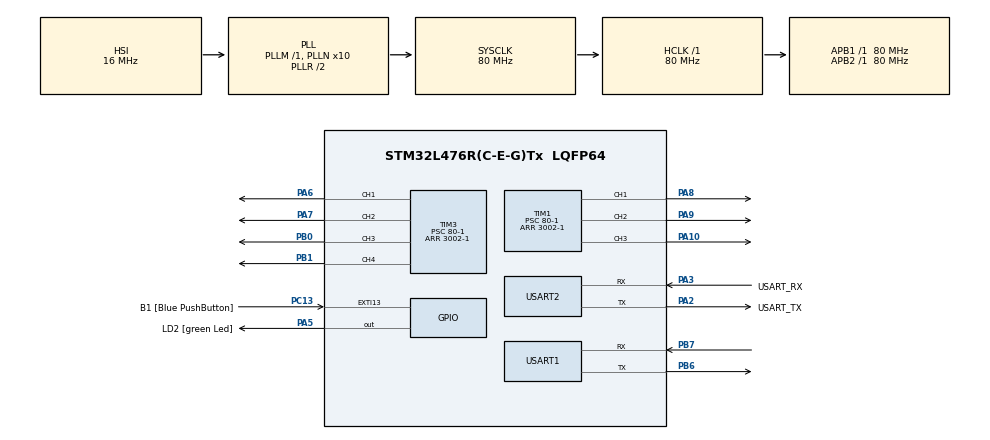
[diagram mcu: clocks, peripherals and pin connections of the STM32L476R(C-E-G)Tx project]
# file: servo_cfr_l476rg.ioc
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Mcu.Family=STM32L4
Mcu.Name=STM32L476R(C-E-G)Tx
Mcu.Package=LQFP64
NVIC.PriorityGroup=NVIC_PRIORITYGROUP_4
NVIC.USART1_IRQn=true\:0\:0\:false\:false\:true\:true\:true\:true
PA10.Signal=S_TIM1_CH3
PA13\ (JTMS-SWDIO).GPIO_Label=TMS
PA13\ (JTMS-SWDIO).Mode=Serial_Wire
PA13\ (JTMS-SWDIO).Signal=SYS_JTMS-SWDIO
PA14\ (JTCK-SWCLK).GPIO_Label=TCK
PA14\ (JTCK-SWCLK).Mode=Serial_Wire
PA14\ (JTCK-SWCLK).Signal=SYS_JTCK-SWCLK
PA2.GPIO_Label=USART_TX
PA2.GPIO_Mode=GPIO_MODE_AF_PP
PA2.GPIO_PuPd=GPIO_NOPULL
PA2.GPIO_Speed=GPIO_SPEED_FREQ_VERY_HIGH
PA2.Mode=Asynchronous
PA2.Signal=USART2_TX
PA3.GPIO_Label=USART_RX
PA3.GPIO_Mode=GPIO_MODE_AF_PP
PA3.GPIO_PuPd=GPIO_NOPULL
PA3.GPIO_Speed=GPIO_SPEED_FREQ_VERY_HIGH
PA3.Mode=Asynchronous
PA3.Signal=USART2_RX
PA5.GPIO_Label=LD2 [green Led]
PA5.GPIO_ModeDefaultOutputPP=GPIO_MODE_OUTPUT_PP
PA5.GPIO_PuPd=GPIO_NOPULL
PA5.GPIO_Speed=GPIO_SPEED_FREQ_LOW
PA5.Signal=GPIO_Output
PA6.Signal=S_TIM3_CH1
PA7.Signal=S_TIM3_CH2
PA8.Signal=S_TIM1_CH1
PA9.Signal=S_TIM1_CH2
PB0.Signal=S_TIM3_CH3
PB1.Signal=S_TIM3_CH4
PB3\ (JTDO-TRACESWO).GPIO_Label=SWO
PB3\ (JTDO-TRACESWO).Signal=SYS_JTDO-SWO
PB6.Mode=Asynchronous
PB6.Signal=USART1_TX
PB7.Mode=Asynchronous
PB7.Signal=USART1_RX
PC13.GPIO_Label=B1 [Blue PushButton]
PC13.GPIO_ModeDefaultEXTI=GPIO_MODE_IT_FALLING
PC13.GPIO_PuPd=GPIO_NOPULL
PC13.Signal=GPXTI13
PC14-OSC32_IN\ (PC14).Mode=LSE-External-Oscillator
PC14-OSC32_IN\ (PC14).Signal=RCC_OSC32_IN
PC15-OSC32_OUT\ (PC15).Mode=LSE-External-Oscillator
PC15-OSC32_OUT\ (PC15).Signal=RCC_OSC32_OUT
PH0-OSC_IN\ (PH0).Signal=RCC_OSC_IN
PH1-OSC_OUT\ (PH1).Signal=RCC_OSC_OUT
ProjectManager.HeapSize=0x200
ProjectManager.StackSize=0x400
ProjectManager.TargetToolchain=STM32CubeIDE
RCC.ADCFreq_Value=64000000
RCC.AHBFreq_Value=80000000
RCC.APB1Freq_Value=80000000
RCC.APB1TimFreq_Value=80000000
RCC.APB2Freq_Value=80000000
RCC.APB2TimFreq_Value=80000000
RCC.CortexFreq_Value=80000000
RCC.HCLKFreq_Value=80000000
RCC.HSE_VALUE=8000000
RCC.HSI_VALUE=16000000
RCC.MSI_VALUE=4000000
RCC.PLLN=10
RCC.PLLSourceVirtual=RCC_PLLSOURCE_HSI
RCC.PREFETCH_ENABLE=1
RCC.SYSCLKFreq_VALUE=80000000
RCC.SYSCLKSource=RCC_SYSCLKSOURCE_PLLCLK
RCC.USBFreq_Value=64000000
RCC.VCOOutputFreq_Value=160000000
SH.S_TIM1_CH1.0=TIM1_CH1,PWM Generation1 CH1
SH.S_TIM1_CH2.0=TIM1_CH2,PWM Generation2 CH2
SH.S_TIM1_CH3.0=TIM1_CH3,PWM Generation3 CH3
SH.S_TIM3_CH1.0=TIM3_CH1,PWM Generation1 CH1
SH.S_TIM3_CH2.0=TIM3_CH2,PWM Generation2 CH2
SH.S_TIM3_CH3.0=TIM3_CH3,PWM Generation3 CH3
SH.S_TIM3_CH4.0=TIM3_CH4,PWM Generation4 CH4
TIM1.Channel-PWM\ Generation1\ CH1=TIM_CHANNEL_1
TIM1.Channel-PWM\ Generation2\ CH2=TIM_CHANNEL_2
TIM1.Channel-PWM\ Generation3\ CH3=TIM_CHANNEL_3
TIM1.Period=3002-1
TIM1.Prescaler=80-1
TIM3.Channel-PWM\ Generation1\ CH1=TIM_CHANNEL_1
TIM3.Channel-PWM\ Generation2\ CH2=TIM_CHANNEL_2
TIM3.Channel-PWM\ Generation3\ CH3=TIM_CHANNEL_3
TIM3.Channel-PWM\ Generation4\ CH4=TIM_CHANNEL_4
TIM3.Period=3002-1
TIM3.Prescaler=80-1
USART1.VirtualMode-Asynchronous=VM_ASYNC
USART2.VirtualMode-Asynchronous=VM_ASYNC
VP_TIM1_VS_ClockSourceINT.Mode=Internal
VP_TIM3_VS_ClockSourceINT.Mode=Internal
board=NUCLEO-L476RG

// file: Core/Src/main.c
/* USER CODE BEGIN Header */
/**
 ******************************************************************************
 * @file           : main.c
 * @brief          : Main program body
 ******************************************************************************
 * @attention
 *
 * Copyright (c) 2025 STMicroelectronics.
 * All rights reserved.
 *
 * This software is licensed under terms that can be found in the LICENSE file
 * in the root directory of this software component.
 * If no LICENSE file comes with this software, it is provided AS-IS.
 *
 ******************************************************************************
 */
/* USER CODE END Header */
#include "main.h"

/* USER CODE BEGIN Includes */
#include <stdlib.h>
#include <string.h>
#include <stdio.h>
/* USER CODE END Includes */

TIM_HandleTypeDef htim1;
TIM_HandleTypeDef htim3;

UART_HandleTypeDef huart1;
UART_HandleTypeDef huart2;

/* USER CODE BEGIN PV */
char rx_data[13]; // Buffer for 13 bytes including '<' start marker

#define SERVO_MIN_M 1200 // servo milieu
#define SERVO_MAX_M 2000

#define SERVO_MIN_G 1145
#define SERVO_MAX_G 2000

#define SERVO_MIN_D 1000
#define SERVO_MAX_D 2000

// Paramètres pour l'ouverture/fermeture progressive
#define SMOOTH_STEPS 50      // Nombre d'étapes pour l'ouverture/fermeture
#define STEP_DELAY_MS 30     // Délai entre chaque étape (30ms * 50 = 1500ms )

// Variables pour mémoriser l'état actuel des servos
uint16_t current_pos_g1 = SERVO_MIN_G;  // Pince 1 gauche (PA8)
uint16_t current_pos_d1 = SERVO_MIN_D;  // Pince 1 droite (PB0)
uint16_t current_pos_g2 = SERVO_MIN_G;  // Pince 2 gauche (PA6)
uint16_t current_pos_d2 = SERVO_MIN_D;  // Pince 2 droite (PA10)
/* USER CODE END PV */

void SystemClock_Config(void);
static void MX_GPIO_Init(void);
static void MX_USART2_UART_Init(void);
static void MX_TIM1_Init(void);
static void MX_TIM3_Init(void);
static void MX_USART1_UART_Init(void);
/* USER CODE BEGIN PFP */
void moveServoSmoothly(uint16_t *current_position, uint16_t target_position, void (*setPosition)(uint16_t));
void setServoPosition_PA8(uint16_t position);   // Pince 1 gauche
void setServoPosition_PB0(uint16_t position);   // Pince 1 droite
void setServoPosition_PA6(uint16_t position);   // Pince 2 gauche
void setServoPosition_PA10(uint16_t position);  // Pince 2 droite
/* USER CODE END PFP */

/* USER CODE BEGIN 0 */
// Fonction pour définir la position du servo PA8 (Pince 1 gauche)
void setServoPosition_PA8(uint16_t position) {
    TIM1->CCR1 = position;
}

// Fonction pour définir la position du servo PB0 (Pince 1 droite)
void setServoPosition_PB0(uint16_t position) {
    TIM3->CCR3 = position;
}

// Fonction pour définir la position du servo PA6 (Pince 2 gauche)
void setServoPosition_PA6(uint16_t position) {
    TIM3->CCR1 = position;
}

// Fonction pour définir la position du servo PA10 (Pince 2 droite)
void setServoPosition_PA10(uint16_t position) {
    TIM1->CCR3 = position;
}

// Fonction pour déplacer un servo progressivement
void moveServoSmoothly(uint16_t *current_position, uint16_t target_position, void (*setPosition)(uint16_t)) {
    if (*current_position == target_position) {
        return; // Pas besoin de bouger si déjà à la position cible
    }

    int16_t step = (target_position - *current_position) / SMOOTH_STEPS;
    uint16_t position = *current_position;

    for (int i = 0; i < SMOOTH_STEPS; i++) {
        position += step;
        // S'assurer que la dernière étape atteint exactement la position cible
        if (i == SMOOTH_STEPS - 1) {
            position = target_position;
        }

        setPosition(position);
        HAL_Delay(STEP_DELAY_MS);
    }

    *current_position = target_position;
}
/* USER CODE END 0 */

int main(void)
{

	/* MCU Configuration--------------------------------------------------------*/

	/* Reset of all peripherals, Initializes the Flash interface and the Systick. */
	HAL_Init();

	/* Configure the system clock */
	SystemClock_Config();

	/* Initialize all configured peripherals */
	MX_GPIO_Init();
	MX_USART2_UART_Init();
	MX_TIM1_Init();
	MX_TIM3_Init();
	MX_USART1_UART_Init();
	/* USER CODE BEGIN 2 */
	HAL_TIM_PWM_Start(&htim3, TIM_CHANNEL_2);  // PA7 (première pince, milieu)
	HAL_TIM_PWM_Start(&htim3, TIM_CHANNEL_3);  // PB0 (première pince, droit)
	HAL_TIM_PWM_Start(&htim1, TIM_CHANNEL_1);  // PA8 (première pince, gauche)
	HAL_TIM_PWM_Start(&htim1, TIM_CHANNEL_2);  // PA9 (deuxième pince, milieu)
	HAL_TIM_PWM_Start(&htim1, TIM_CHANNEL_3);  // PA10 (deuxième pince, droit)
	HAL_TIM_PWM_Start(&htim3, TIM_CHANNEL_1);  // PA6 (deuxième pince, gauche)
	HAL_TIM_PWM_Start(&htim3, TIM_CHANNEL_4);  // PB1 (banderolle)

	HAL_UART_Receive_IT(&huart1, (uint8_t *)rx_data, 13);
	/* USER CODE END 2 */

	/* Infinite loop */
	/* USER CODE BEGIN WHILE */
	while (1)
	{
		// Find the start marker '<' in rx_data
		int offset = -1;
		for (int j = 0; j < sizeof(rx_data); j++) {
			if (rx_data[j] == '<') {
				offset = j;
				break;
			}
		}

		// Process data if '>' is found
		if (offset >= 0) {
			// Debug output: Reconstruct the message in circular order
			char message[15]; // 13 caractères de rx_data + 2 pour "\r\n"
			for (int i = 0; i < 13; i++) {
				message[i] = rx_data[(offset + i) % 13];
			}
			message[13] = '\r'; // Ajouter retour chariot
			message[14] = '\n'; // Ajouter nouvelle ligne
			HAL_UART_Transmit(&huart2, (uint8_t *)message, sizeof(message), HAL_MAX_DELAY);

			// Première pince
			if (rx_data[(offset + 1) % 13] == '0') { // PA7 (TIM3_CH2) milieu
				TIM3->CCR2 = SERVO_MAX_M;
			} else {
				TIM3->CCR2 = SERVO_MIN_M;
			}

			// Déplacement progressif de la pince 1 droite
			if (rx_data[(offset + 2) % 13] == '0') { // PB0 (TIM3_CH3) droit
				moveServoSmoothly(&current_pos_d1, SERVO_MIN_D, setServoPosition_PB0);
			} else {
				moveServoSmoothly(&current_pos_d1, SERVO_MAX_D, setServoPosition_PB0);
			}

			// Déplacement progressif de la pince 1 gauche
			if (rx_data[(offset + 3) % 13] == '0') { // PA8 (TIM1_CH1) gauche
				moveServoSmoothly(&current_pos_g1, SERVO_MAX_G, setServoPosition_PA8);
			} else {
				moveServoSmoothly(&current_pos_g1, SERVO_MIN_G, setServoPosition_PA8);
			}

			// Deuxième pince
			if (rx_data[(offset + 4) % 13] == '0') { // PA9 (TIM1_CH2) milieu
				TIM1->CCR2 = SERVO_MAX_M;
			} else {
				TIM1->CCR2 = SERVO_MIN_M;
			}

			// Déplacement progressif de la pince 2 droite
			if (rx_data[(offset + 5) % 13] == '0') { // PA10 (TIM1_CH3) droit
				moveServoSmoothly(&current_pos_d2, SERVO_MIN_D, setServoPosition_PA10);
			} else {
				moveServoSmoothly(&current_pos_d2, SERVO_MAX_D, setServoPosition_PA10);
			}

			// Déplacement progressif de la pince 2 gauche
			if (rx_data[(offset + 6) % 13] == '0') { // PA6 (TIM3_CH1) gauche
				moveServoSmoothly(&current_pos_g2, SERVO_MAX_G, setServoPosition_PA6);
			} else {
				moveServoSmoothly(&current_pos_g2, SERVO_MIN_G, setServoPosition_PA6);
			}

			// banderolle
			if (rx_data[(offset + 7) % 13] == '0') { // PB1 (TIM3_CH4)
				TIM3->CCR4 = SERVO_MAX_G;
			} else {
				TIM3->CCR4 = SERVO_MIN_G;
			}

		}

		// Re-enable UART reception to resynchronize
		HAL_UART_Receive_IT(&huart1, (uint8_t *)rx_data, sizeof(rx_data));

		/* USER CODE END WHILE */

	}
}

void SystemClock_Config(void)
{
	RCC_OscInitTypeDef RCC_OscInitStruct = {0};
	RCC_ClkInitTypeDef RCC_ClkInitStruct = {0};

	/** Configure the main internal regulator output voltage
	 */
	if (HAL_PWREx_ControlVoltageScaling(PWR_REGULATOR_VOLTAGE_SCALE1) != HAL_OK)
	{
		Error_Handler();
	}

	/** Initializes the RCC Oscillators according to the specified parameters
	 * in the RCC_OscInitTypeDef structure.
	 */
	RCC_OscInitStruct.OscillatorType = RCC_OSCILLATORTYPE_HSI;
	RCC_OscInitStruct.HSIState = RCC_HSI_ON;
	RCC_OscInitStruct.HSICalibrationValue = RCC_HSICALIBRATION_DEFAULT;
	RCC_OscInitStruct.PLL.PLLState = RCC_PLL_ON;
	RCC_OscInitStruct.PLL.PLLSource = RCC_PLLSOURCE_HSI;
	RCC_OscInitStruct.PLL.PLLM = 1;
	RCC_OscInitStruct.PLL.PLLN = 10;
	RCC_OscInitStruct.PLL.PLLP = RCC_PLLP_DIV7;
	RCC_OscInitStruct.PLL.PLLQ = RCC_PLLQ_DIV2;
	RCC_OscInitStruct.PLL.PLLR = RCC_PLLR_DIV2;
	if (HAL_RCC_OscConfig(&RCC_OscInitStruct) != HAL_OK)
	{
		Error_Handler();
	}

	/** Initializes the CPU, AHB and APB buses clocks
	 */
	RCC_ClkInitStruct.ClockType = RCC_CLOCKTYPE_HCLK|RCC_CLOCKTYPE_SYSCLK
			|RCC_CLOCKTYPE_PCLK1|RCC_CLOCKTYPE_PCLK2;
	RCC_ClkInitStruct.SYSCLKSource = RCC_SYSCLKSOURCE_PLLCLK;
	RCC_ClkInitStruct.AHBCLKDivider = RCC_SYSCLK_DIV1;
	RCC_ClkInitStruct.APB1CLKDivider = RCC_HCLK_DIV1;
	RCC_ClkInitStruct.APB2CLKDivider = RCC_HCLK_DIV1;

	if (HAL_RCC_ClockConfig(&RCC_ClkInitStruct, FLASH_LATENCY_4) != HAL_OK)
	{
		Error_Handler();
	}
}

static void MX_TIM1_Init(void)
{

	TIM_ClockConfigTypeDef sClockSourceConfig = {0};
	TIM_MasterConfigTypeDef sMasterConfig = {0};
	TIM_OC_InitTypeDef sConfigOC = {0};
	TIM_BreakDeadTimeConfigTypeDef sBreakDeadTimeConfig = {0};

	htim1.Instance = TIM1;
	htim1.Init.Prescaler = 80-1;
	htim1.Init.CounterMode = TIM_COUNTERMODE_UP;
	htim1.Init.Period = 3002-1;
	htim1.Init.ClockDivision = TIM_CLOCKDIVISION_DIV1;
	htim1.Init.RepetitionCounter = 0;
	htim1.Init.AutoReloadPreload = TIM_AUTORELOAD_PRELOAD_DISABLE;
	if (HAL_TIM_Base_Init(&htim1) != HAL_OK)
	{
		Error_Handler();
	}
	sClockSourceConfig.ClockSource = TIM_CLOCKSOURCE_INTERNAL;
	if (HAL_TIM_ConfigClockSource(&htim1, &sClockSourceConfig) != HAL_OK)
	{
		Error_Handler();
	}
	if (HAL_TIM_PWM_Init(&htim1) != HAL_OK)
	{
		Error_Handler();
	}
	sMasterConfig.MasterOutputTrigger = TIM_TRGO_RESET;
	sMasterConfig.MasterOutputTrigger2 = TIM_TRGO2_RESET;
	sMasterConfig.MasterSlaveMode = TIM_MASTERSLAVEMODE_DISABLE;
	if (HAL_TIMEx_MasterConfigSynchronization(&htim1, &sMasterConfig) != HAL_OK)
	{
		Error_Handler();
	}
	sConfigOC.OCMode = TIM_OCMODE_PWM1;
	sConfigOC.Pulse = 0;
	sConfigOC.OCPolarity = TIM_OCPOLARITY_HIGH;
	sConfigOC.OCNPolarity = TIM_OCNPOLARITY_HIGH;
	sConfigOC.OCFastMode = TIM_OCFAST_DISABLE;
	sConfigOC.OCIdleState = TIM_OCIDLESTATE_RESET;
	sConfigOC.OCNIdleState = TIM_OCNIDLESTATE_RESET;
	if (HAL_TIM_PWM_ConfigChannel(&htim1, &sConfigOC, TIM_CHANNEL_1) != HAL_OK)
	{
		Error_Handler();
	}
	if (HAL_TIM_PWM_ConfigChannel(&htim1, &sConfigOC, TIM_CHANNEL_2) != HAL_OK)
	{
		Error_Handler();
	}
	if (HAL_TIM_PWM_ConfigChannel(&htim1, &sConfigOC, TIM_CHANNEL_3) != HAL_OK)
	{
		Error_Handler();
	}
	sBreakDeadTimeConfig.OffStateRunMode = TIM_OSSR_DISABLE;
	sBreakDeadTimeConfig.OffStateIDLEMode = TIM_OSSI_DISABLE;
	sBreakDeadTimeConfig.LockLevel = TIM_LOCKLEVEL_OFF;
	sBreakDeadTimeConfig.DeadTime = 0;
	sBreakDeadTimeConfig.BreakState = TIM_BREAK_DISABLE;
	sBreakDeadTimeConfig.BreakPolarity = TIM_BREAKPOLARITY_HIGH;
	sBreakDeadTimeConfig.BreakFilter = 0;
	sBreakDeadTimeConfig.Break2State = TIM_BREAK2_DISABLE;
	sBreakDeadTimeConfig.Break2Polarity = TIM_BREAK2POLARITY_HIGH;
	sBreakDeadTimeConfig.Break2Filter = 0;
	sBreakDeadTimeConfig.AutomaticOutput = TIM_AUTOMATICOUTPUT_DISABLE;
	if (HAL_TIMEx_ConfigBreakDeadTime(&htim1, &sBreakDeadTimeConfig) != HAL_OK)
	{
		Error_Handler();
	}
	HAL_TIM_MspPostInit(&htim1);

}

static void MX_TIM3_Init(void)
{

	TIM_ClockConfigTypeDef sClockSourceConfig = {0};
	TIM_MasterConfigTypeDef sMasterConfig = {0};
	TIM_OC_InitTypeDef sConfigOC = {0};

	htim3.Instance = TIM3;
	htim3.Init.Prescaler = 80-1;
	htim3.Init.CounterMode = TIM_COUNTERMODE_UP;
	htim3.Init.Period = 3002-1;
	htim3.Init.ClockDivision = TIM_CLOCKDIVISION_DIV1;
	htim3.Init.AutoReloadPreload = TIM_AUTORELOAD_PRELOAD_DISABLE;
	if (HAL_TIM_Base_Init(&htim3) != HAL_OK)
	{
		Error_Handler();
	}
	sClockSourceConfig.ClockSource = TIM_CLOCKSOURCE_INTERNAL;
	if (HAL_TIM_ConfigClockSource(&htim3, &sClockSourceConfig) != HAL_OK)
	{
		Error_Handler();
	}
	if (HAL_TIM_PWM_Init(&htim3) != HAL_OK)
	{
		Error_Handler();
	}
	sMasterConfig.MasterOutputTrigger = TIM_TRGO_RESET;
	sMasterConfig.MasterSlaveMode = TIM_MASTERSLAVEMODE_DISABLE;
	if (HAL_TIMEx_MasterConfigSynchronization(&htim3, &sMasterConfig) != HAL_OK)
	{
		Error_Handler();
	}
	sConfigOC.OCMode = TIM_OCMODE_PWM1;
	sConfigOC.Pulse = 0;
	sConfigOC.OCPolarity = TIM_OCPOLARITY_HIGH;
	sConfigOC.OCFastMode = TIM_OCFAST_DISABLE;
	if (HAL_TIM_PWM_ConfigChannel(&htim3, &sConfigOC, TIM_CHANNEL_1) != HAL_OK)
	{
		Error_Handler();
	}
	if (HAL_TIM_PWM_ConfigChannel(&htim3, &sConfigOC, TIM_CHANNEL_2) != HAL_OK)
	{
		Error_Handler();
	}
	if (HAL_TIM_PWM_ConfigChannel(&htim3, &sConfigOC, TIM_CHANNEL_3) != HAL_OK)
	{
		Error_Handler();
	}
	if (HAL_TIM_PWM_ConfigChannel(&htim3, &sConfigOC, TIM_CHANNEL_4) != HAL_OK)
	{
		Error_Handler();
	}
	HAL_TIM_MspPostInit(&htim3);

}

static void MX_USART1_UART_Init(void)
{

	huart1.Instance = USART1;
	huart1.Init.BaudRate = 115200;
	huart1.Init.WordLength = UART_WORDLENGTH_8B;
	huart1.Init.StopBits = UART_STOPBITS_1;
	huart1.Init.Parity = UART_PARITY_NONE;
	huart1.Init.Mode = UART_MODE_TX_RX;
	huart1.Init.HwFlowCtl = UART_HWCONTROL_NONE;
	huart1.Init.OverSampling = UART_OVERSAMPLING_16;
	huart1.Init.OneBitSampling = UART_ONE_BIT_SAMPLE_DISABLE;
	huart1.AdvancedInit.AdvFeatureInit = UART_ADVFEATURE_NO_INIT;
	if (HAL_UART_Init(&huart1) != HAL_OK)
	{
		Error_Handler();
	}

}

static void MX_USART2_UART_Init(void)
{

	huart2.Instance = USART2;
	huart2.Init.BaudRate = 115200;
	huart2.Init.WordLength = UART_WORDLENGTH_8B;
	huart2.Init.StopBits = UART_STOPBITS_1;
	huart2.Init.Parity = UART_PARITY_NONE;
	huart2.Init.Mode = UART_MODE_TX_RX;
	huart2.Init.HwFlowCtl = UART_HWCONTROL_NONE;
	huart2.Init.OverSampling = UART_OVERSAMPLING_16;
	huart2.Init.OneBitSampling = UART_ONE_BIT_SAMPLE_DISABLE;
	huart2.AdvancedInit.AdvFeatureInit = UART_ADVFEATURE_NO_INIT;
	if (HAL_UART_Init(&huart2) != HAL_OK)
	{
		Error_Handler();
	}

}

static void MX_GPIO_Init(void)
{
	GPIO_InitTypeDef GPIO_InitStruct = {0};

	/* GPIO Ports Clock Enable */
	__HAL_RCC_GPIOC_CLK_ENABLE();
	__HAL_RCC_GPIOH_CLK_ENABLE();
	__HAL_RCC_GPIOA_CLK_ENABLE();
	__HAL_RCC_GPIOB_CLK_ENABLE();

	/*Configure GPIO pin Output Level */
	HAL_GPIO_WritePin(LD2_GPIO_Port, LD2_Pin, GPIO_PIN_RESET);

	/*Configure GPIO pin : B1_Pin */
	GPIO_InitStruct.Pin = B1_Pin;
	GPIO_InitStruct.Mode = GPIO_MODE_IT_FALLING;
	GPIO_InitStruct.Pull = GPIO_NOPULL;
	HAL_GPIO_Init(B1_GPIO_Port, &GPIO_InitStruct);

	/*Configure GPIO pin : LD2_Pin */
	GPIO_InitStruct.Pin = LD2_Pin;
	GPIO_InitStruct.Mode = GPIO_MODE_OUTPUT_PP;
	GPIO_InitStruct.Pull = GPIO_NOPULL;
	GPIO_InitStruct.Speed = GPIO_SPEED_FREQ_LOW;
	HAL_GPIO_Init(LD2_GPIO_Port, &GPIO_InitStruct);

}

/* USER CODE BEGIN 4 */
void HAL_UART_RxCpltCallback(UART_HandleTypeDef *huart)
{
	if (huart == &huart1)
	{
		HAL_UART_Receive_IT(&huart1, (uint8_t *)rx_data, sizeof(rx_data)); // Relancer la réception
	}
}
/* USER CODE END 4 */

void Error_Handler(void)
{
	__disable_irq();
	while (1)
	{
	}
}
